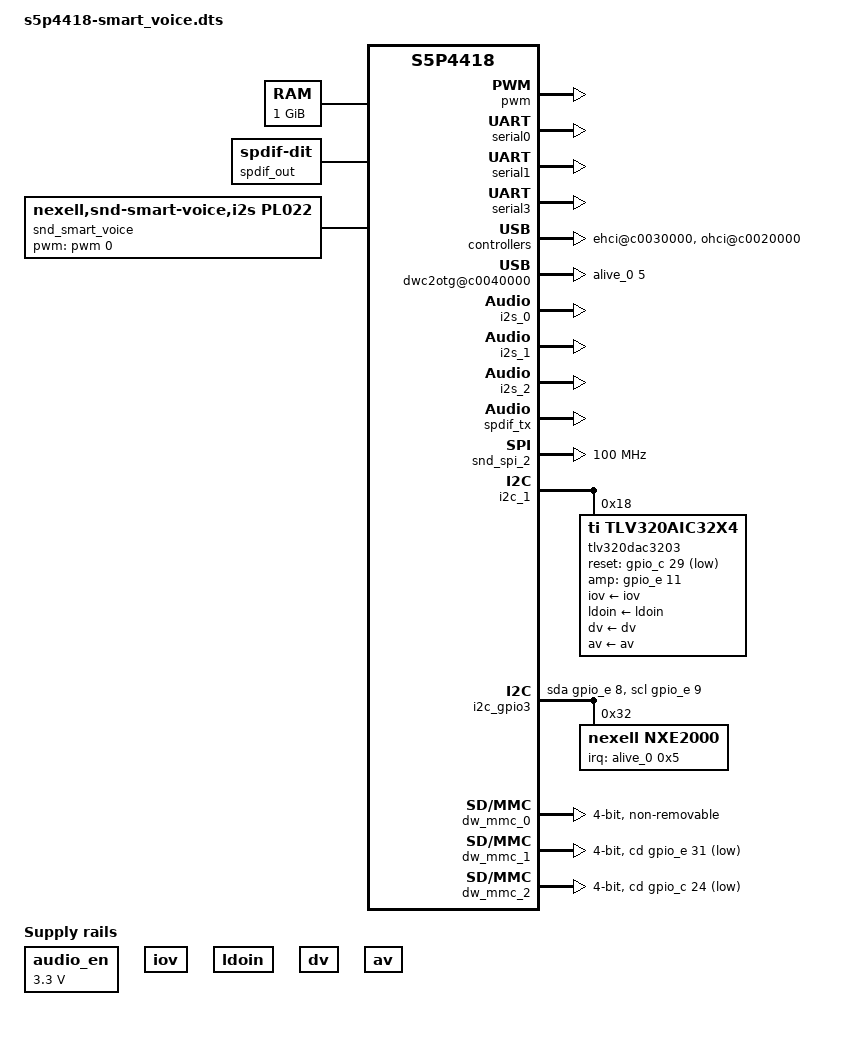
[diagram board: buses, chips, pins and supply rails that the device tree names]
/*
 * Copyright (C) 2016  Nexell Co., Ltd.
 * Author: Youngbok, Park <ybpark@nexell.co.kr>
 *
 * This program is free software; you can redistribute it and/or
 * modify it under the terms of the GNU General Public License
 * as published by the Free Software Foundation; either version 2
 * of the License, or (at your option) any later version.
 *
 * This program is distributed in the hope that it will be useful,
 * but WITHOUT ANY WARRANTY; without even the implied warranty of
 * MERCHANTABILITY or FITNESS FOR A PARTICULAR PURPOSE.  See the
 * GNU General Public License for more details.
 *
 * You should have received a copy of the GNU General Public License
 * along with this program.  If not, see <http://www.gnu.org/licenses/>.
 */

/dts-v1/;
#include <dt-bindings/interrupt-controller/irq.h>
#include <dt-bindings/gpio/gpio.h>
#include <dt-bindings/input/input.h>
#include "nxp4330.dtsi"

#define PMIC_PDATA_INIT(_id, _rname, _minuv,			\
			_maxuv, _init_uv, _init_enable,		\
			_set_init_uV, _slp_slots)		\
			regulator-name = _rname;		\
			regulator-min-microvolt = <_minuv>;	\
			regulator-max-microvolt = <_maxuv>;	\
			nx,id = <_id>;				\
			nx,init_enable = <_init_enable>;	\
			nx,init_uV = <_init_uv>;		\
			nx,set_init_uV = <_set_init_uV>;	\
			nx,sleep_slots = <_slp_slots>;

/ {
	memory {
		device_type = "memory";
		reg = <0x71000000 0x40000000>;
	};

	psci {
		compatible = "arm,psci-0.2";
		method = "smc";
	};

	aliases {
		i2c3 = &i2c_gpio3;
	};

	soc {
		#include "s5p4418-pinctrl.dtsi"
		clocks {
			uart3:uart@c00ab000 { clock-frequency = <147500000>; };
			uart1:uart@c00a8000 { clock-frequency = <100000000>; };
			uart0:uart@c00a9000 { clock-frequency = <147500000>; };
			dummy_clk: dummy_clk {
				#clock-cells = <0>;
				clock-output-names = "dummy_clk";
				compatible = "fixed-clock";
				clock-frequency = <0>;
			};

			pwm0:pwm0@c00ba000 {
				clk-input = <I_PLL0>;
				clock-frequency = <80000000>;
			};
		};

		pwm:pwm@c0018000 {
			clocks =  <&pwm0>;
			clock-names = "pwm-tclk0";
		};

		pinctrl@C0010000 {
			i2s1_bus:i2s1 {
				/delete-node/ i2s1-mclk;
			};

			i2s2_bus:i2s2 {
				/delete-node/ i2s2-mclk;
			};
		};

		l2:l2-cache-controller@cf000000 {
			arm,prefetch-offset = <7>;
			prefetch-data = <1>;
			prefetch-instr = <1>;
			arm,tag-latency = <3 4 3>;
			arm,data-latency = <3 4 3>;
		};
		serial0:serial@c00a1000 {
			status ="okay";
		};

		serial1:serial@c00a0000 {
			dmas = <&pl08xdma0 0 0>, <&pl08xdma0 1 0>;
			dma-names = "tx", "rx";
			pinctrl-0 = <&serial1_pin>, <&serial1_flow_cts>,
						<&serial1_flow_rts>;
			status ="okay";
		};

		serial3:serial@c00a3000 {
			status ="okay";
		};

		amba {
			pl08xdma0:pl08xdma@c0000000 {
				use_isr;
			};

			pl08xdma1:pl08xdma@c0001000 {
				use_isr;
			};
		};

		watchdog@c0019000 {
			status = "okay";
		};

		rtc@c0010c00 {
			status = "okay";
		};

		nexell_usbphy: nexell-usbphy@c0012000 {
			status = "okay";
		};

		ehci@c0030000 {
			status = "okay";
			port@0 {
				status = "okay";
			};
		};

		ohci@c0020000 {
			status = "okay";
			port@0 {
				status = "okay";
			};
		};

		dwc2otg@c0040000 {
			gpios = <&alive_0 5 0>;
			status = "okay";
		};

		i2s_0:i2s@c0055000 {
			#sound-dai-cells = <1>;
			master-mode = <1>;
			mclk-in = <0>;
			trans-mode = <0>;
			frame-bit = <32>;
			sample-rate = <48000>;
			pre-supply-mclk = <1>;
			status = "okay";
		};

		i2s_1:i2s@c0056000 {
			#sound-dai-cells = <1>;
			master-mode = <0>;
			mclk-in = <1>;
			trans-mode = <0>;
			frame-bit = <32>;
			sample-rate = <48000>;
			pre-supply-mclk = <0>;
			status = "okay";
		};

		i2s_2:i2s@c0057000 {
			#sound-dai-cells = <1>;
			master-mode = <0>;
			mclk-in = <1>;
			trans-mode = <0>;
			frame-bit = <32>;
			sample-rate = <48000>;
			pre-supply-mclk = <0>;
			status = "okay";
		};

		spdif_tx: spdiftx@c0059000 {
			#sound-dai-cells = <1>;
			pcm-bit = <16>;
			sample_rate = <48000>;
			status = "okay";
		};

		snd_spi_2:snd_spi@c005f000 {
			data-bit = <16>;
			clock-frequency = <100000000>;
			clock-invert = <1>;
			clock-phase = <1>;
			status = "okay";
		};

		i2c_1:i2c@c00a5000 {
			#address-cells = <1>;
			#size-cells = <0>;
			status = "okay";

			tlv320dac3203: tlv320dac3203@18 {
				#sound-dai-cells = <0>;
				compatible = "ti,tlv320aic32x4";
				reg = <0x18>;
				reset-gpios = <&gpio_c 29 GPIO_ACTIVE_LOW>;
				amp-gpios = <&gpio_e 11 GPIO_ACTIVE_HIGH>;

				clocks = <&dummy_clk>;
				clock-names = "mclk";
				iov-supply = <&iov>;
				ldoin-supply = <&ldoin>;
				dv-supply = <&dv>;
				av-supply = <&av>;
				dac-mono = "left";
			};
		};

		i2c_gpio3: i2c@3 {
			compatible = "i2c-gpio";
			gpios = <&gpio_e 8 0		/* SDA */
				&gpio_e 9 0		/* SCL */
				>;
			#address-cells = <1>;
			#size-cells = <0>;
			status = "okay";

			nxe2000@32 {
				compatible = "nexell,nxe2000";
				reg = <0x32>;
				interrupt-parent = <&alive_0>;
				interrupts = <0x5 IRQ_TYPE_EDGE_FALLING>;

				regulators {
					VCC_DCDC0:
						dcdc1	{ PMIC_PDATA_INIT( 0,
							"nxe2000_dcdc1",
							900000, 1500000,
							1100000, 1, 0, 0x4)
							regulator-always-on;
							regulator-boot-on;};
					VCC_DCDC1:
						dcdc2	{ PMIC_PDATA_INIT( 1,
							"nxe2000_dcdc2",
							1000000, 1500000,
							1200000, 1, 0, 0x4)
							regulator-always-on;
							regulator-boot-on;};
					VCC_DCDC2:
						dcdc3	{ PMIC_PDATA_INIT( 2,
							"nxe2000_dcdc3",
							1000000, 3500000,
							3300000, 1, 1, 0x0)
							regulator-always-on;
							regulator-boot-on;};
					VCC_DCDC3:
						dcdc4	{ PMIC_PDATA_INIT( 3,
							"nxe2000_dcdc4",
							1000000, 2000000,
							1500000, 1, 0, 0xF)
							regulator-always-on;
							regulator-boot-on;};
					VCC_DCDC4:
						dcdc5	{ PMIC_PDATA_INIT( 4,
							"nxe2000_dcdc5",
							1000000, 2000000,
							1500000, 0, 0, 0x4)
							regulator-always-on;
							regulator-boot-on;};
					VCC_LDO0:
						ldo1	{ PMIC_PDATA_INIT( 5,
							"nxe2000_ldo1",
							1000000, 3500000,
							3300000, 0, 1, 0x0)
							regulator-boot-on;};
					VCC_LDO1:
						ldo2	{ PMIC_PDATA_INIT( 6,
							"nxe2000_ldo2",
							1000000, 3500000,
							3300000, 0, 1, 0x0)
							regulator-boot-on;};
					VCC_LDO2:
						ldo3	{ PMIC_PDATA_INIT( 7,
							"nxe2000_ldo3",
							1000000, 3500000,
							1800000, 1, 1, 0x2)
							regulator-always-on;
							regulator-boot-on;};
					VCC_LDO3:
						ldo4	{ PMIC_PDATA_INIT( 8,
							"nxe2000_ldo4",
							1000000, 3500000,
							1800000, 1, 1, 0x2)
							regulator-always-on;
							regulator-boot-on;};
					VCC_LDO4:
						ldo5	{ PMIC_PDATA_INIT( 9,
							"nxe2000_ldo5",
							1000000, 3500000,
							3300000, 0, 1, 0x0)
							regulator-boot-on;};
					VCC_LDO5:
						ldo6	{ PMIC_PDATA_INIT(10,
							"nxe2000_ldo6",
							1000000, 3500000,
							3300000, 1, 1, 0xF)
							regulator-always-on;
							regulator-boot-on;};
					VCC_LDO6:
						ldo7	{ PMIC_PDATA_INIT(11,
							"nxe2000_ldo7",
							1000000, 3500000,
							3300000, 0, 1, 0x1)
							regulator-always-on;
							regulator-boot-on;};
					VCC_LDO7:
						ldo8	{ PMIC_PDATA_INIT(12,
							"nxe2000_ldo8",
							1000000, 3500000,
							3300000, 0, 1, 0x0)
							regulator-boot-on;};
					VCC_LDO8:
						ldo9	{ PMIC_PDATA_INIT(13,
							"nxe2000_ldo9",
							1000000, 3500000,
							1800000, 0, 1, 0x0)
							regulator-boot-on;};
					VCC_LDO9:
						ldo10	{ PMIC_PDATA_INIT(14,
							"nxe2000_ldo10",
							1000000, 3500000,
							1200000, 1, 1, 0x0)
							regulator-always-on;
							regulator-boot-on;};
					VCC_RTC0:
						ldortc1	{ PMIC_PDATA_INIT(15,
							"nxe2000_rtc1",
							1700000, 3500000,
							1800000, 1, 1, 0xF)
							regulator-always-on;
							regulator-boot-on;};
					VCC_RTC1:
						ldortc2	{ PMIC_PDATA_INIT(16,
							"nxe2000_rtc2",
							1000000, 3500000,
							1000000, 1, 1, 0xF)
							regulator-always-on;
							regulator-boot-on;};
				}; /* regulators */
			}; /* nxe2000@32 */
		}; /* i2c_gpio3 */
	}; /*** soc ***/

	audio_en: regulator-fix@0 {
		compatible = "regulator-fixed";

		regulator-name = "AUDIO EN";
		regulator-min-microvolt = <3300000>;
		regulator-max-microvolt = <3300000>;
		regulator-boot-on;
		regulator-always-on;
	};

	iov: regulator-fix@1 {
		compatible = "regulator-fixed";

		regulator-name = "IOV";
	};

	ldoin: regulator-fix@2 {
		compatible = "regulator-fixed";

		regulator-name = "LDOIN";
	};

	dv: regulator-fix@3 {
		compatible = "regulator-fixed";

		regulator-name = "DV";
	};

	av: regulator-fix@4 {
		compatible = "regulator-fixed";

		regulator-name = "AV";
	};

	snd_null: snd_null@0 {
		#sound-dai-cells = <0>;
		compatible = "nexell,snd-null";
		#address-cells = <1>;
		#size-cells = <0>;
		reg = <0 0>;
	};

	spdif_out: spdif-out {
		#sound-dai-cells = <0>;
		compatible = "linux,spdif-dit";
	};

	snd_pcm_smart_voice:snd_pcm_smart_voice@1 {
		#sound-dai-cells = <0>;
		compatible = "nexell,snd-pcm-smart-voice";
		status = "okay";
	};

	snd_smart_voice: snd_smart_voice@0 {
		#sound-dai-cells = <0>;
		compatible = "nexell,snd-smart-voice,i2s,pl022";
		#address-cells = <1>;
		#size-cells = <0>;
		pwms = <&pwm 0 125 0>;
		gpio_regs = < PHYS_BASE_GPIOA 0x1000
			PHYS_BASE_GPIOB 0x1000
			PHYS_BASE_GPIOC 0x1000
			PHYS_BASE_GPIOD 0x1000
			PHYS_BASE_GPIOE 0x1000
			PHYS_BASE_ALIVE 0x200>;

		cpu-dais = <2>;	/* i2s:1EA, spi:1EA */
		pin {
			spi-cs-gpio = <&gpio_c 16 0>;
			pdm-isrun-gpio = <&gpio_e 14 0>;
			pdm-lrck-gpio = <&gpio_b 26 0>;
			i2s-lrck-gpio = <&gpio_b 4 0>;
			pdm-nrst-gpio = <&gpio_e 15 0>;
		};
	};

	sound {
		compatible = "nexell,simple-audio-card";
		simple-audio-card,name = "s5p4418 smart_voice Audio";
		simple-audio-card,widgets =
		    "Headphone", "Out Jack";
		simple-audio-card,routing =
		    "Out Jack", "HPL",
		    "Out Jack", "HPR";
		status = "okay";
		simple-audio-card,dai-link@0 {
			format = "i2s";
			cpu {
				sound-dai = <&i2s_0 0>;
			};

			codec {
				sound-dai = <&tlv320dac3203>;
			};
		};

		simple-audio-card,dai-link@1 {
			format = "i2s";
			cpu {
				sound-dai = <&i2s_1 0>;
			};

			codec {
				sound-dai = <&snd_null>;
			};
		};

		simple-audio-card,dai-link@2 {
			format = "i2s";
			cpu {
				sound-dai = <&i2s_2 0>;
			};

			plat {
				sound-dai = <&snd_pcm_smart_voice>;
			};

			codec {
				sound-dai = <&snd_smart_voice>;
			};
		};

		simple-audio-card,dai-link@3 {
			mclk-fs = <256>;
			cpu {
				sound-dai = <&spdif_tx 0>;
			};

			codec {
				sound-dai = <&spdif_out>;
			};
		};

		simple-audio-card,dai-link@4 {
			format = "spi";
			cpu {
				sound-dai = <&snd_spi_2 0>;
			};
			codec {
				sound-dai = <&snd_smart_voice>;
			};
		};
	};
};



&dw_mmc_0 {
	num-slots = <1>;
	bus-width = <4>;
	cap-mmc-highspeed;
	broken-cd;
	non-removable;
	clock-frequency = <100000000>;
	card-detect-delay = <200>;
	disable-wp;
	nexell,drive_dly = <0x0>;
	nexell,drive_shift = <0x02>;
	nexell,sample_dly = <0x00>;
	nexell,sample_shift = <0x01>;
	status = "okay";
};

&dw_mmc_1 {
	num-slots = <1>;
	bus-width = <4>;
	cap-sd-highspeed;
	clock-frequency = <100000000>;
	card-detect-delay = <200>;
	disable-wp;
	cd-gpios = <&gpio_e 31 0>;
	cd-inverted;
	nexell,drive_dly = <0x0>;
	nexell,drive_shift = <0x02>;
	nexell,sample_dly = <0x00>;
	nexell,sample_shift = <0x01>;
	status = "okay";
};

&dw_mmc_2 {
	num-slots = <1>;
	bus-width = <4>;
	cap-sd-highspeed;
	clock-frequency = <100000000>;
	card-detect-delay = <200>;
	disable-wp;
	cd-gpios = <&gpio_c 24 0>;
	cd-inverted;
	nexell,drive_dly = <0x0>;
	nexell,drive_shift = <0x02>;
	nexell,sample_dly = <0x00>;
	nexell,sample_shift = <0x01>;
	status = "okay";
};

&i2s0_bus {
	i2s0_mclk: i2s0-mclk {
		nexell,pin-strength = <0>;
	};
	i2s0_bclk: i2s0-bclk {
		nexell,pin-strength = <0>;
	};
};

&pwm {
	pinctrl-names = "default";
	pinctrl-0 = <&pwm0_pin>;
	samsung,pwm-outputs = <0>;
	status = "okay";
};

